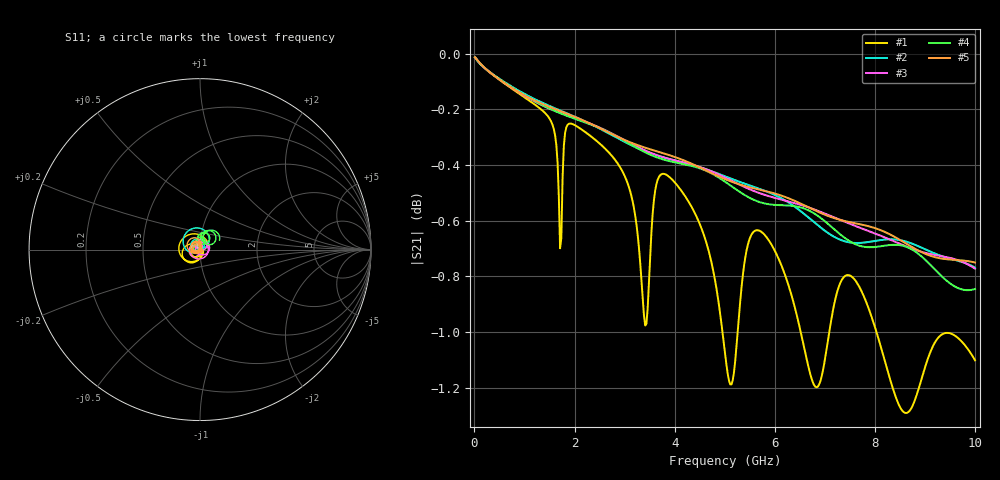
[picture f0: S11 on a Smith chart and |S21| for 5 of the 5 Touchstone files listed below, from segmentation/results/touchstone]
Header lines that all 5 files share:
! Channel segmentation validation - 38 mm 50 ohm symmetric stripline coupon
! Solver: Ansys HFSS 3D Layout 2026 R1, broadband adaptive 1-5 GHz,
!  Delta S 0.02, interpolating sweep 10 MHz - 10 GHz
! Port[1] = U1.PAD1.SIG
! Port[2] = U2.PAD1.SIG
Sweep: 10 MHz to 10 GHz
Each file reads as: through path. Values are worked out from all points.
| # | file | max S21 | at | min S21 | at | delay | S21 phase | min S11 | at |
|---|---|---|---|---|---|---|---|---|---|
| 1 | A_unstitched_monolithic.s2p | -0.01 dB | 10 MHz | -1.3 dB | 8.61 GHz | 261 ps | -114 deg at 5.01 GHz | -57.5 dB | 10 MHz |
| 2 | B1_stitched_cut19mm_cascaded.s2p | -0.01 dB | 10 MHz | -0.8 dB | 10 GHz | 263 ps | -115 deg at 5.01 GHz | -57.7 dB | 10 MHz |
| 3 | B2_stitched_cut4mm_cascaded.s2p | -0.01 dB | 10 MHz | -0.8 dB | 10 GHz | 263 ps | -116 deg at 5.01 GHz | -57.4 dB | 10 MHz |
| 4 | B3_stitched_cut1p5mm_cascaded.s2p | -0.01 dB | 10 MHz | -0.8 dB | 9.86 GHz | 263 ps | -116 deg at 5.01 GHz | -57.6 dB | 10 MHz |
| 5 | B_stitched_monolithic.s2p | -0.01 dB | 10 MHz | -0.8 dB | 10 GHz | 260 ps | -110 deg at 5.01 GHz | -61.4 dB | 4.085 GHz |
